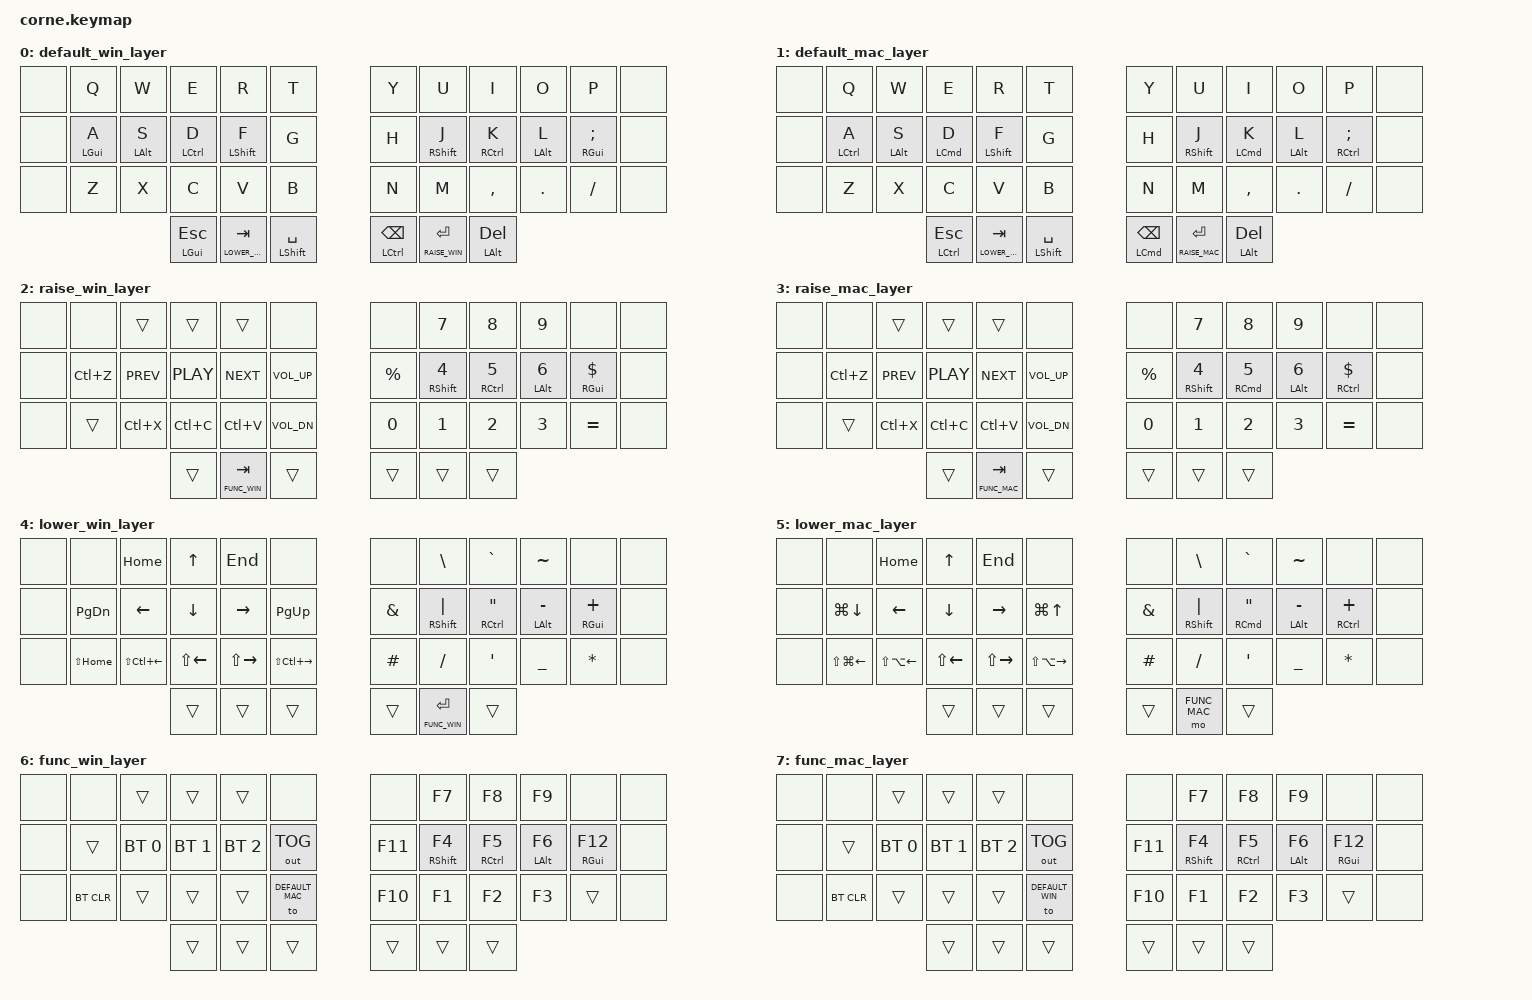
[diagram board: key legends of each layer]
/*
 * Copyright (c) 2020 The ZMK Contributors
 *
 * SPDX-License-Identifier: MIT
 */

#include <behaviors.dtsi>
#include <dt-bindings/zmk/keys.h>
#include <dt-bindings/zmk/bt.h> 
#include <dt-bindings/zmk/ext_power.h>
#include <dt-bindings/zmk/rgb.h>
#include <dt-bindings/zmk/outputs.h>



#define DEFAULT_WIN 0
#define DEFAULT_MAC 1
#define RAISE_WIN 2
#define RAISE_MAC 3
#define LOWER_WIN 4
#define LOWER_MAC 5
#define FUNC_WIN 6
#define FUNC_MAC 7

/* Shortcuts */
#define CUT LC(X)
#define COPY LC(C)
#define PASTE LC(V)
#define UNDO LC(Z)
#define SLALL LC(A)



&mt {
    tapping-term-ms = <200>;
};
/ {
        behaviors {
                hm: homerow_mods {
                compatible = "zmk,behavior-hold-tap";
                label = "HOMEROW_MODS";
                #binding-cells = <2>;
                tapping-term-ms = <200>;
                quick_tap_ms = <0>;
                flavor = "tap-preferred";
                bindings = <&kp>, <&kp>;
                };
        };
        combos {
                compatible = "zmk,combos";

                /*            KEY POSITIONS

                0  1  2  3  4  5    6  7  8  9  10 11 
                12 13 14 15 16 17   18 19 20 21 22 23
                24 25 26 27 28 29   30 31 32 33 34 35
                         36 37 38   39 40 41
                */
                combo_dot { timeout-ms = <50>; key-positions = <32 33>; bindings = <&kp DOT>; layers = <DEFAULT_WIN DEFAULT_MAC>; }; // .
                combo_comma { timeout-ms = <50>; key-positions = <31 32>; bindings = <&kp COMMA>; layers = <DEFAULT_WIN DEFAULT_MAC>; }; // ,
                combo_semicolon { timeout-ms = <50>; key-positions = <21 22>; bindings = <&kp SEMICOLON>; layers = <DEFAULT_WIN DEFAULT_MAC>; }; // ;
                combo_slash { timeout-ms = <50>; key-positions = <33 34>; bindings = <&kp SLASH>; layers = <DEFAULT_WIN DEFAULT_MAC>; }; // /
                combo_lbkt { timeout-ms = <50>; key-positions = <31 32>; bindings = <&kp LBKT>; layers = <LOWER_WIN LOWER_MAC>; }; // ]
                combo_rbkt { timeout-ms = <50>; key-positions = <32 33>; bindings = <&kp RBKT>; layers = <LOWER_WIN LOWER_MAC>; }; // [
                combo_lpar { timeout-ms = <50>; key-positions = <19 20>; bindings = <&kp LPAR>; layers = <LOWER_WIN LOWER_MAC>; }; // (
                combo_rpar { timeout-ms = <50>; key-positions = <20 21>; bindings = <&kp RPAR>; layers = <LOWER_WIN LOWER_MAC>; }; // )
                combo_lbrc { timeout-ms = <50>; key-positions = <7 8>; bindings = <&kp LBRC>; layers = <LOWER_WIN LOWER_MAC>; }; // {
                combo_rbrc { timeout-ms = <50>; key-positions = <8 9>; bindings = <&kp RBRC>; layers = <LOWER_WIN LOWER_MAC>; }; // }
                combo_excl { timeout-ms = <50>; key-positions = <33 34>; bindings = <&kp EXCL>; layers = <LOWER_WIN LOWER_MAC>; }; // !
                combo_euro { timeout-ms = <50>; key-positions = <21 22>; bindings = <&kp RA(N5)>; layers = <RAISE_WIN>; }; // €
                combo_euro_m { timeout-ms = <50>; key-positions = <21 22>; bindings = <&kp LS(LA(N2))>; layers = <RAISE_MAC>; }; // €
                combo_at { timeout-ms = <50>; key-positions = <8 9>; bindings = <&kp AT>; layers = <RAISE_WIN RAISE_MAC>; }; // at
                combo_ss { timeout-ms = <50>; key-positions = <7 8>; bindings = <&kp RA(S)>; layers = <RAISE_WIN>; }; // ss
                combo_caret { timeout-ms = <50>; key-positions = <33 34>; bindings = <&kp CARET>; layers = <RAISE_WIN RAISE_MAC>; }; // ^
        };
        
        keymap {
                compatible = "zmk,keymap";

                default_win_layer {
// -----------------------------------------------------------------------------------------
// |  Q  |  W  |  E  |  R  |  T  |   |  Y  |  U   |  I  |  O  |  P  |
// |  A  |  S  |  D  |  F  |  G  |   |  H  |  J   |  K  |  L  |  ;  |
// |  Z  |  X  |  C  |  V  |  B  |   |  N  |  M   |  ,  |  .  |  /  |
//             | GUI | LWR | SHFT|   | CTRL| RSE  | ALT |
                        bindings = <
   &none &kp Q       &kp W        &kp E             &kp R             &kp T          &kp Y               &kp U       &kp I          &kp O        &kp P          &none
   &none &hm LGUI A  &hm LALT S   &hm LCTRL D       &hm LSHFT F       &kp G          &kp H               &hm RSHFT J &hm RCTRL K    &hm LALT L   &hm RGUI SEMI  &none
   &none &kp Z       &kp X        &kp C             &kp V             &kp B          &kp N               &kp M       &kp COMMA      &kp DOT      &kp FSLH       &none
                     &mt LGUI ESC &lt LOWER_WIN TAB &mt LSHFT SPACE   &mt LCTRL BSPC &lt RAISE_WIN ENTER &mt LALT DEL
                        >;
                };
                default_mac_layer {
// -----------------------------------------------------------------------------------------
// |  Q  |  W  |  E  |  R  |  T  |   |  Y  |  U   |  I  |  O  |  P  |
// |  A  |  S  |  D  |  F  |  G  |   |  H  |  J   |  K  |  L  |  ;  |
// |  Z  |  X  |  C  |  V  |  B  |   |  N  |  M   |  ,  |  .  |  /  |
//             | CTRL| LWR | SHFT|   | GUI | RSE  | ALT |
                        bindings = <
   &none &kp Q       &kp W        &kp E             &kp R             &kp T          &kp Y               &kp U       &kp I          &kp O        &kp P          &none
   &none &hm LCTRL A &hm LALT S   &hm LCMD D        &hm LSHFT F       &kp G          &kp H               &hm RSHFT J &hm LCMD K     &hm LALT L   &hm RCTRL SEMI &none
   &none &kp Z       &kp X        &kp C             &kp V             &kp B          &kp N               &kp M       &kp COMMA      &kp DOT      &kp FSLH       &none
                     &mt LCTRL ESC &lt LOWER_MAC TAB &mt LSHFT SPACE   &mt LCMD BSPC &lt RAISE_MAC ENTER &mt LALT DEL
                        >;
                };
                raise_win_layer {
// -----------------------------------------------------------------------------------------
// |      |       |       |       |       |   |     |  7  |  8  |  9  |     |
// | undo | Prev  | Play  | Next  | volU  |   |  %  |  4  |  5  |  6  |  $  |
// |      | cut   | copy  | paste | volD  |   |  0  |  1  |  2  |  3  |  =  |
//                | CTRL  | FUNC  | SHFT  |   | GUI |     | ALT |
                        bindings = <
        &none &none    &trans     &trans     &trans           &none                  &none       &kp N7       &kp N8       &kp N9      &none           &none
        &none &kp UNDO &kp C_PREV &kp C_PLAY &kp C_NEXT       &kp C_VOL_UP           &kp PERCENT &hm RSHFT N4 &hm RCTRL N5 &hm LALT N6 &hm RGUI DOLLAR &none
        &none &trans   &kp CUT    &kp COPY   &kp PASTE        &kp C_VOL_DN           &kp N0      &kp N1       &kp N2       &kp N3      &kp EQUAL       &none
                                  &trans     &mt FUNC_WIN TAB &trans                 &trans      &trans       &trans
                        >;
                };
                raise_mac_layer {
// -----------------------------------------------------------------------------------------
// |      |       |       |       |       |   |     |  7  |  8  |  9  |     |
// | undo | Prev  | Play  | Next  | volU  |   |  %  |  4  |  5  |  6  |  $  |
// |      | cut   | copy  | paste | volD  |   |  0  |  1  |  2  |  3  |  =  |
//                | CTRL  | FUNC  | SHFT  |   | GUI |     | ALT |
                        bindings = <
        &none &none     &trans      &trans     &trans           &none                  &none       &kp N7       &kp N8       &kp N9      &none            &none
        &none &kp UNDO  &kp C_PREV  &kp C_PLAY &kp C_NEXT       &kp C_VOL_UP           &kp PERCENT &hm RSHFT N4 &hm RCMD N5  &hm LALT N6 &hm RCTRL DOLLAR &none
        &none &trans    &kp CUT     &kp COPY   &kp PASTE        &kp C_VOL_DN           &kp N0      &kp N1       &kp N2       &kp N3      &kp EQUAL        &none
                                    &trans     &mt FUNC_MAC TAB &trans                 &trans      &trans       &trans
                        >;
                };
                lower_win_layer {
// -----------------------------------------------------------------------------------------
//      |      | POS1  | UP    | END   |       |   |       |   \   |   `   |   ~   |       |
//      | pgDwn| LEFT  | DOWN  | RIGHT | pgUp  |   |   &   |   |   |   "   |   -   |   +   | 
//      | sPos1| sBWrd | sBChr | sFChr | sFWrd |   |   #   |   /   |   '   |   _   |   *   |
//                     | CTRL  |       | SHFT  |   | GUI   |  FUN  |  ALT  |
                        bindings = <
        &none &none        &kp HOME         &kp UP       &kp END       &none                  &none      &kp BSLH           &kp GRAVE     &kp TILDE      &none         &none
        &none &kp PG_DN    &kp LEFT         &kp DOWN     &kp RIGHT     &kp PG_UP              &kp AMPS   &hm RSHFT PIPE     &hm RCTRL DQT &hm LALT MINUS &hm RGUI PLUS &none
        &none &kp LS(HOME) &kp LS(LC(LEFT)) &kp LS(LEFT) &kp LS(RIGHT) &kp LS(LC(RIGHT))      &kp HASH   &kp SLASH          &kp SQT       &kp UNDER      &kp ASTRK     &none
                                            &trans       &trans        &trans                 &trans     &lt FUNC_WIN ENTER &trans
                        >;
                };
                lower_mac_layer {
// -----------------------------------------------------------------------------------------
//      |      | POS1  | UP    | END   |       |   |       |   \   |   `   |   ~   |       |
//      | pgDwn| LEFT  | DOWN  | RIGHT | pgUp  |   |   &   |   |   |   "   |   -   |   +   | 
//      | sPos1| sBWrd | sBChr | sFChr | sFWrd |   |   #   |   /   |   '   |   _   |   *   |
//                     | CTRL  |       | SHFT  |   | GUI   |  FUN  |  ALT  |

                        bindings = <
        &none &none            &kp HOME         &kp UP       &kp END       &none                  &none      &kp BSLH       &kp GRAVE     &kp TILDE      &none          &none 
        &none &kp LG(DOWN)     &kp LEFT         &kp DOWN     &kp RIGHT     &kp LG(UP)             &kp AMPS   &hm RSHFT PIPE &hm RCMD DQT  &hm LALT MINUS &hm RCTRL PLUS &none 
        &none &kp LS(LG(LEFT)) &kp LS(LA(LEFT)) &kp LS(LEFT) &kp LS(RIGHT) &kp LS(LA(RIGHT))      &kp HASH   &kp SLASH      &kp SQT       &kp UNDER      &kp ASTRK      &none 
                                                &trans       &trans        &trans                 &trans     &mo FUNC_MAC   &trans
                        >;
                };     
                func_win_layer {
// -----------------------------------------------------------------------------------------
//      |      |       |       |       |       |   |       |   F7  |   F8  |   F9  |       |
//      |      | BT1   | BT2   | BT3   | USB   |   |   F11 |   F4  |   F5  |   F6  |   F12 | 
//      | BTCLR|       |       |       | MAC   |   |   F10 |   F1  |   F2  |   F3  |       |
//                     | ESC   | TAB   | SPACE |   | BSPC  | ENTER | DEL   |
//                    
                        bindings = <
        &none   &none      &trans       &trans       &trans        &none               &none    &kp F7       &kp F8       &kp F9      &none        &none 
        &none   &trans     &bt BT_SEL 0 &bt BT_SEL 1 &bt BT_SEL 2  &out OUT_TOG        &kp F11  &hm RSHFT F4 &hm RCTRL F5 &hm LALT F6 &hm RGUI F12 &none 
        &none   &bt BT_CLR &trans       &trans       &trans        &to DEFAULT_MAC     &kp F10  &kp F1       &kp F2       &kp F3      &trans       &none 
                                        &trans       &trans        &trans              &trans   &trans       &trans
                        >;
                };
                func_mac_layer {
// -----------------------------------------------------------------------------------------
//      |      |       |       |       |       |   |       |   F7  |   F8  |   F9  |       |
//      |      | BT1   | BT2   | BT3   | USB   |   |   F11 |   F4  |   F5  |   F6  |   F12 | 
//      | BTCLR|       |       |       | WIN   |   |   F10 |   F1  |   F2  |   F3  |       |
//                     | ESC   | TAB   | SPACE |   | BSPC  | ENTER | DEL   |
//                    
                        bindings = <
        &none   &none      &trans       &trans       &trans        &none               &none    &kp F7       &kp F8       &kp F9      &none        &none 
        &none   &trans     &bt BT_SEL 0 &bt BT_SEL 1 &bt BT_SEL 2  &out OUT_TOG        &kp F11  &hm RSHFT F4 &hm RCTRL F5 &hm LALT F6 &hm RGUI F12 &none 
        &none   &bt BT_CLR &trans       &trans       &trans        &to DEFAULT_WIN     &kp F10  &kp F1       &kp F2       &kp F3      &trans       &none 
                                        &trans       &trans        &trans              &trans   &trans       &trans
                        >;
                };

        };
};
